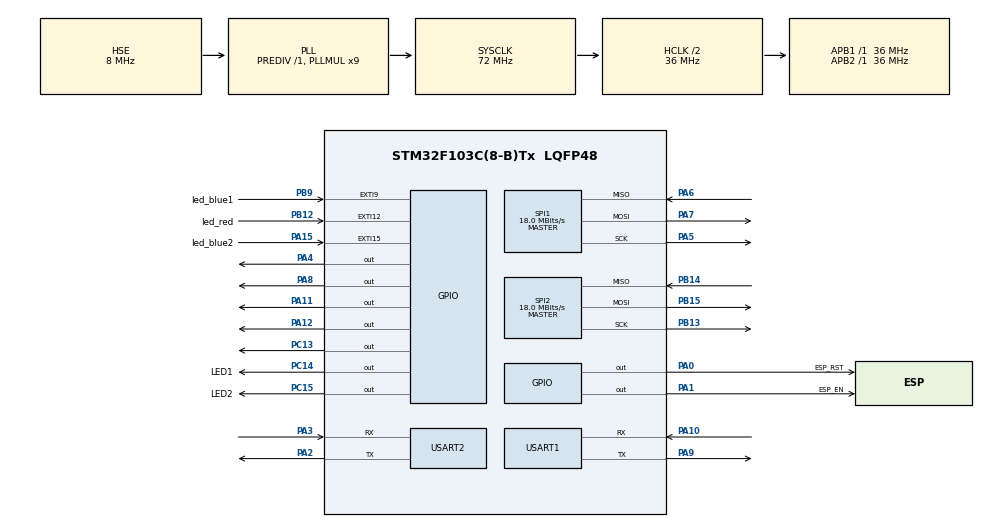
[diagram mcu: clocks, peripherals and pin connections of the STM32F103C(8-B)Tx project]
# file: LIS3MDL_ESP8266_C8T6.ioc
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Dma.Request0=USART2_TX
Dma.Request1=USART2_RX
Dma.USART2_RX.1.Direction=DMA_PERIPH_TO_MEMORY
Dma.USART2_RX.1.Instance=DMA1_Channel6
Dma.USART2_RX.1.MemDataAlignment=DMA_MDATAALIGN_BYTE
Dma.USART2_RX.1.MemInc=DMA_MINC_ENABLE
Dma.USART2_RX.1.Mode=DMA_NORMAL
Dma.USART2_RX.1.PeriphDataAlignment=DMA_PDATAALIGN_BYTE
Dma.USART2_RX.1.PeriphInc=DMA_PINC_DISABLE
Dma.USART2_RX.1.Priority=DMA_PRIORITY_LOW
Dma.USART2_TX.0.Direction=DMA_MEMORY_TO_PERIPH
Dma.USART2_TX.0.Instance=DMA1_Channel7
Dma.USART2_TX.0.MemDataAlignment=DMA_MDATAALIGN_BYTE
Dma.USART2_TX.0.MemInc=DMA_MINC_ENABLE
Dma.USART2_TX.0.Mode=DMA_NORMAL
Dma.USART2_TX.0.PeriphDataAlignment=DMA_PDATAALIGN_BYTE
Dma.USART2_TX.0.PeriphInc=DMA_PINC_DISABLE
Dma.USART2_TX.0.Priority=DMA_PRIORITY_LOW
Mcu.Family=STM32F1
Mcu.Name=STM32F103C(8-B)Tx
Mcu.Package=LQFP48
NVIC.DMA1_Channel6_IRQn=true\:0\:0\:false\:false\:true\:false\:true\:true
NVIC.DMA1_Channel7_IRQn=true\:0\:0\:false\:false\:true\:false\:true\:true
NVIC.EXTI15_10_IRQn=true\:0\:0\:false\:false\:true\:true\:true\:true
NVIC.EXTI9_5_IRQn=true\:0\:0\:false\:false\:true\:true\:true\:true
NVIC.PriorityGroup=NVIC_PRIORITYGROUP_4
NVIC.TIM2_IRQn=true\:0\:0\:false\:false\:true\:true\:true\:true
NVIC.USART1_IRQn=true\:0\:0\:false\:false\:true\:true\:true\:true
NVIC.USART2_IRQn=true\:0\:0\:false\:false\:true\:true\:true\:true
PA0-WKUP.GPIO_Label=ESP_RST
PA0-WKUP.Signal=GPIO_Output
PA1.GPIO_Label=ESP_EN
PA1.Signal=GPIO_Output
PA10.Mode=Asynchronous
PA10.Signal=USART1_RX
PA11.Signal=GPIO_Output
PA12.Signal=GPIO_Output
PA13.Mode=Serial_Wire
PA13.Signal=SYS_JTMS-SWDIO
PA14.Mode=Serial_Wire
PA14.Signal=SYS_JTCK-SWCLK
PA15.GPIO_Label=led_blue2
PA15.GPIO_ModeDefaultEXTI=GPIO_MODE_IT_FALLING
PA15.GPIO_PuPd=GPIO_PULLUP
PA15.Signal=GPXTI15
PA2.Mode=Asynchronous
PA2.Signal=USART2_TX
PA3.Mode=Asynchronous
PA3.Signal=USART2_RX
PA4.Signal=GPIO_Output
PA5.Mode=Full_Duplex_Master
PA5.Signal=SPI1_SCK
PA6.Mode=Full_Duplex_Master
PA6.Signal=SPI1_MISO
PA7.Mode=Full_Duplex_Master
PA7.Signal=SPI1_MOSI
PA8.Signal=GPIO_Output
PA9.Mode=Asynchronous
PA9.Signal=USART1_TX
PB12.GPIO_Label=led_red
PB12.GPIO_ModeDefaultEXTI=GPIO_MODE_IT_FALLING
PB12.GPIO_PuPd=GPIO_PULLUP
PB12.Signal=GPXTI12
PB13.Mode=Full_Duplex_Master
PB13.Signal=SPI2_SCK
PB14.Mode=Full_Duplex_Master
PB14.Signal=SPI2_MISO
PB15.Mode=Full_Duplex_Master
PB15.Signal=SPI2_MOSI
PB9.GPIO_Label=led_blue1
PB9.GPIO_ModeDefaultEXTI=GPIO_MODE_IT_FALLING
PB9.GPIO_PuPd=GPIO_PULLUP
PB9.Signal=GPXTI9
PC13-TAMPER-RTC.Signal=GPIO_Output
PC14-OSC32_IN.GPIO_Label=LED1
PC14-OSC32_IN.Signal=GPIO_Output
PC15-OSC32_OUT.GPIO_Label=LED2
PC15-OSC32_OUT.Signal=GPIO_Output
PD0-OSC_IN.Mode=HSE-External-Oscillator
PD0-OSC_IN.Signal=RCC_OSC_IN
PD1-OSC_OUT.Mode=HSE-External-Oscillator
PD1-OSC_OUT.Signal=RCC_OSC_OUT
ProjectManager.HeapSize=0x200
ProjectManager.StackSize=0x400
ProjectManager.TargetToolchain=MDK-ARM V5.32
RCC.AHBCLKDivider=RCC_SYSCLK_DIV2
RCC.AHBFreq_Value=36000000
RCC.APB1Freq_Value=36000000
RCC.APB1TimFreq_Value=36000000
RCC.APB2Freq_Value=36000000
RCC.APB2TimFreq_Value=36000000
RCC.HCLKFreq_Value=36000000
RCC.PLLMUL=RCC_PLL_MUL9
RCC.PLLSourceVirtual=RCC_PLLSOURCE_HSE
RCC.SYSCLKFreq_VALUE=72000000
RCC.SYSCLKSource=RCC_SYSCLKSOURCE_PLLCLK
RCC.USBFreq_Value=72000000
SPI1.CalculateBaudRate=18.0 MBits/s
SPI1.Direction=SPI_DIRECTION_2LINES
SPI1.Mode=SPI_MODE_MASTER
SPI1.VirtualType=VM_MASTER
SPI2.CalculateBaudRate=18.0 MBits/s
SPI2.Direction=SPI_DIRECTION_2LINES
SPI2.Mode=SPI_MODE_MASTER
SPI2.VirtualType=VM_MASTER
TIM2.AutoReloadPreload=TIM_AUTORELOAD_PRELOAD_ENABLE
TIM2.Period=999
TIM2.Prescaler=35
USART1.VirtualMode=VM_ASYNC
USART2.VirtualMode=VM_ASYNC
VP_TIM2_VS_ClockSourceINT.Mode=Internal
board=custom

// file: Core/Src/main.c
/* USER CODE BEGIN Header */
/**
  ******************************************************************************
  * @file           : main.c
  * @brief          : Main program body
  ******************************************************************************
  * @attention
  *
  * Copyright (c) 2024 STMicroelectronics.
  * All rights reserved.
  *
  * This software is licensed under terms that can be found in the LICENSE file
  * in the root directory of this software component.
  * If no LICENSE file comes with this software, it is provided AS-IS.
  *
  ******************************************************************************
  */
/* USER CODE END Header */
#include "main.h"
#include "dma.h"
#include "spi.h"
#include "tim.h"
#include "usart.h"
#include "gpio.h"

/* USER CODE BEGIN Includes */
#include "ESP8266.h"
#include "lis3mdl.h"
#include "ads1256.h"
#include "module_sel.h"

/* USER CODE END Includes */

/* USER CODE BEGIN PTD */
int led1_flag = 0;
int led2_flag = 0;

/* USER CODE END PTD */

void SystemClock_Config(void);

int main(void)
{

  /* USER CODE BEGIN 1 */
    uint8_t a = 0x23;

  /* USER CODE END 1 */

  /* MCU Configuration--------------------------------------------------------*/

  /* Reset of all peripherals, Initializes the Flash interface and the Systick. */
  HAL_Init();

  /* Configure the system clock */
  SystemClock_Config();

  /* Initialize all configured peripherals */
  MX_GPIO_Init();
  MX_DMA_Init();
  MX_USART1_UART_Init();
  MX_USART2_UART_Init();
  MX_SPI1_Init();
  MX_TIM2_Init();
  MX_SPI2_Init();
  /* USER CODE BEGIN 2 */
  ESP8266_Init();
  LIS3MDL_Init();
  ADS1256_Init(ADS1256_GAIN_1, ADS1256_DRATE_1000SPS , 12);
  // /* USER CODE END 2 */

  /* Infinite loop */
  while (1)
  {

    /* USER CODE BEGIN 3 */
      // HAL_Delay(1000);
      // HAL_GPIO_TogglePin(GPIOC, GPIO_PIN_13);
      // LIS3MDL_DataRead_Continuous();
      // LIS3MDL_DataRead();
      // HAL_UART_Transmit(&HUART, &a, 1, 1000);
      // HAL_UART_Transmit_DMA(&HUART, &a, 1);
      ESP8266_To_PC_Message();
      // HAL_Delay(1000);
      // HAL_GPIO_TogglePin(GPIOC, GPIO_PIN_14);
      // HAL_Delay(1000);
      // HAL_GPIO_TogglePin(GPIOC, GPIO_PIN_15);
      // Led1_sel();
      // ADS1256_Data_Print();

      // if(led1_flag == 1){
      //   Led1_sel();
      // }
      // else if(led2_flag == 1){
      //   Led2_sel();
      // }
  }
  /* USER CODE END 3 */
}

void SystemClock_Config(void)
{
  RCC_OscInitTypeDef RCC_OscInitStruct = {0};
  RCC_ClkInitTypeDef RCC_ClkInitStruct = {0};

  /** Initializes the RCC Oscillators according to the specified parameters
  * in the RCC_OscInitTypeDef structure.
  */
  RCC_OscInitStruct.OscillatorType = RCC_OSCILLATORTYPE_HSE;
  RCC_OscInitStruct.HSEState = RCC_HSE_ON;
  RCC_OscInitStruct.HSEPredivValue = RCC_HSE_PREDIV_DIV1;
  RCC_OscInitStruct.HSIState = RCC_HSI_ON;
  RCC_OscInitStruct.PLL.PLLState = RCC_PLL_ON;
  RCC_OscInitStruct.PLL.PLLSource = RCC_PLLSOURCE_HSE;
  RCC_OscInitStruct.PLL.PLLMUL = RCC_PLL_MUL9;
  if (HAL_RCC_OscConfig(&RCC_OscInitStruct) != HAL_OK)
  {
    Error_Handler();
  }

  /** Initializes the CPU, AHB and APB buses clocks
  */
  RCC_ClkInitStruct.ClockType = RCC_CLOCKTYPE_HCLK|RCC_CLOCKTYPE_SYSCLK
                              |RCC_CLOCKTYPE_PCLK1|RCC_CLOCKTYPE_PCLK2;
  RCC_ClkInitStruct.SYSCLKSource = RCC_SYSCLKSOURCE_PLLCLK;
  RCC_ClkInitStruct.AHBCLKDivider = RCC_SYSCLK_DIV2;
  RCC_ClkInitStruct.APB1CLKDivider = RCC_HCLK_DIV1;
  RCC_ClkInitStruct.APB2CLKDivider = RCC_HCLK_DIV1;

  if (HAL_RCC_ClockConfig(&RCC_ClkInitStruct, FLASH_LATENCY_2) != HAL_OK)
  {
    Error_Handler();
  }
}

/* USER CODE BEGIN 4 */
void HAL_GPIO_EXTI_Callback(uint16_t GPIO_Pin){
    if(GPIO_Pin == KEY1_PIN){
      led1_flag = 1;
      led2_flag = 0;
        // printf("KEY1 pressed\n");
        // Led1_sel();
    }
    else if(GPIO_Pin == KEY2_PIN){
      led2_flag = 1;
      led1_flag = 0;
      // printf("KEY2 pressed\n");
      //   Led2_sel();
    }

}

/* USER CODE END 4 */

void Error_Handler(void)
{
  __disable_irq();
  while (1)
  {
  }
}
